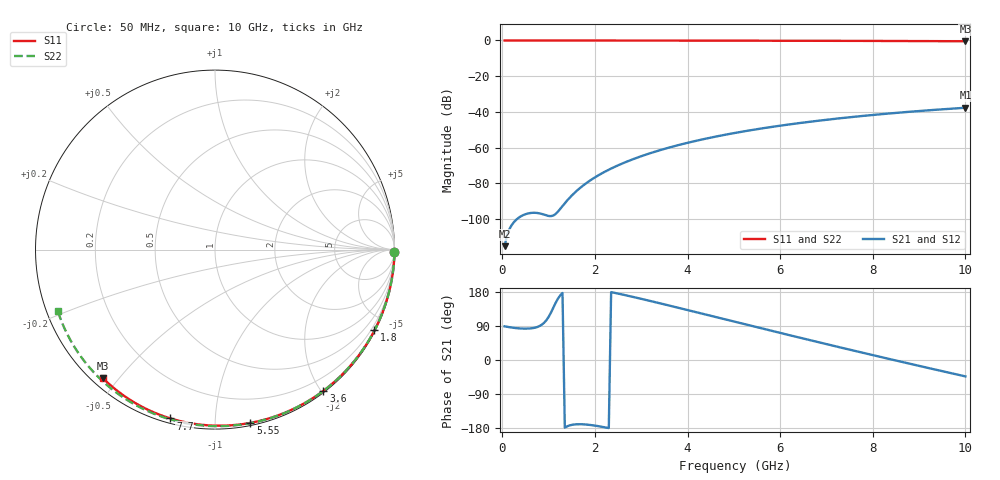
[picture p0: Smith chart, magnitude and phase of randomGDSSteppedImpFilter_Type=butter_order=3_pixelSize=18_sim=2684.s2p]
! freq	dB(S11)	phase(S11)	dB(S12)	phase(S12)
!  dB(S21)	phase(S21)	dB(S22)	phase(S22)
!S-par simulation data
#  GHz  S  DB  R 50
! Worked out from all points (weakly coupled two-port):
!   200 points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, 50 MHz to 10 GHz, reference 50 ohm
!   highest |S21| = -37.66 dB at 10 GHz (marker M1); lowest = -115.1 dB at 50 MHz (marker M2)
!   lowest |S11| = -0.4 dB at 10 GHz (marker M3), VSWR 39.21, Z = 1.54 - j22.7 ohm
!   |S11| at or under -10 dB: nowhere
!   |S22| runs from -0.5 to 0.0 dB; largest |S21 - S12| = 0
!   S11 on the Smith chart (normalised r, x): 50 MHz: open; 1.8 GHz: 0.04, -4.19; 3.6 GHz: 0.02, -2.03; 5.55 GHz: 0.02, -1.22; 7.7 GHz: 0.02, -0.77; 10 GHz: 0.03, -0.45
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0.05  -0.00 -0.8  -115.09 88.8  -115.09 88.8  -0.00 -0.9
0.45  -0.01 -6.8  -97.73 82.8  -97.73 82.8  -0.01 -8.2
0.9  -0.02 -13.6  -97.43 97.9  -97.43 97.9  -0.02 -16.4
1.3  -0.02 -19.5  -92.68 176.9  -92.68 176.9  -0.03 -23.6
1.75  -0.03 -26.1  -81.06 -169.8  -81.06 -169.8  -0.04 -31.5
1.8  -0.03 -26.9  -80.09 -170.2  -80.09 -170.2  -0.04 -32.4
2  -0.04 -29.8  -76.62 -173.2  -76.62 -173.2  -0.05 -35.9
2.15  -0.04 -32.0  -74.35 -176.2  -74.35 -176.2  -0.05 -38.5
2.5  -0.05 -37.0  -69.86 175.3  -69.86 175.3  -0.06 -44.6
2.9  -0.06 -42.7  -65.69 164.3  -65.69 164.3  -0.07 -51.4
3.4  -0.07 -49.7  -61.43 149.8  -61.43 149.8  -0.08 -59.8
3.6  -0.07 -52.5  -59.94 143.8  -59.94 143.8  -0.08 -63.1
4.3  -0.09 -62.1  -55.47 122.8  -55.47 122.8  -0.11 -74.5
5.05  -0.11 -72.0  -51.61 100.1  -51.61 100.1  -0.13 -86.3
5.55  -0.13 -78.5  -49.43 85.0  -49.43 85.0  -0.15 -93.9
6.1  -0.15 -85.4  -47.32 68.5  -47.32 68.5  -0.18 -102.2
6.7  -0.18 -92.8  -45.30 50.7  -45.30 50.7  -0.22 -111.0
7.2  -0.21 -98.8  -43.79 36.0  -43.79 36.0  -0.25 -118.3
7.7  -0.24 -104.8  -42.44 21.5  -42.44 21.5  -0.29 -125.5
8.35  -0.29 -112.3  -40.86 2.9  -40.86 2.9  -0.35 -134.8
9.2  -0.36 -122.1  -39.08 -21.1  -39.08 -21.1  -0.43 -147.0
10  -0.44 -131.1  -37.66 -43.3  -37.66 -43.3  -0.53 -158.8
